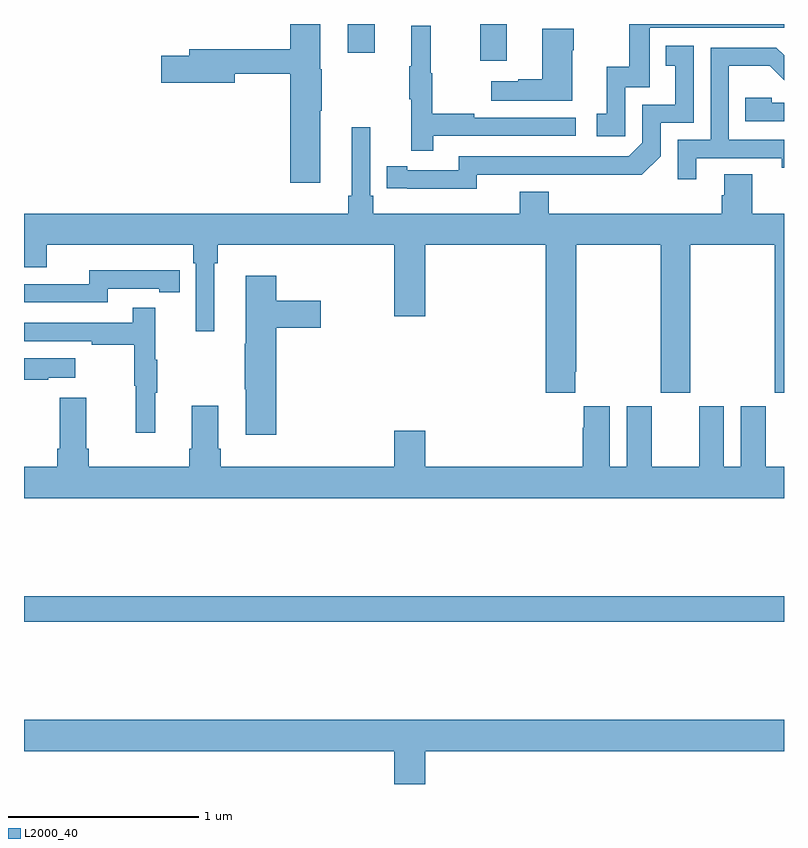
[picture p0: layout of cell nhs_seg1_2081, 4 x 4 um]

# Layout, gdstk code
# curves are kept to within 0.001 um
import gdstk
lib = gdstk.Library(unit=1e-6, precision=1e-09)
def R(c, l, rs):  # rectangles x0, y0, x1, y1
    for r in rs: c.add(gdstk.rectangle(r[:2], r[2:], *l))
def P(c, l, *ps):  # polygons
    for p in ps: c.add(gdstk.Polygon(p, *l))
L2000_40 = (2000, 40)

nhs_seg1_2081 = lib.new_cell('nhs_seg1_2081')
R(nhs_seg1_2081, L2000_40, [(223,579.052,227,579.188), (225.401,582.006,225.541,582.199), (224.705,582.048,224.845,582.199)])
P(nhs_seg1_2081, L2000_40, [(226.164,581.865),(226.293,581.865),(226.293,582.18),(227,582.18),(227,582.199),(226.185,582.199),(226.185,581.974),(226.067,581.974),(226.067,581.727),(226.014,581.727),(226.014,581.607),(226.164,581.607)],
  [(224.56,581.743),(224.568,581.743),(224.568,581.961),(224.56,581.961),(224.56,582.199),(224.402,582.199),(224.402,582.067),(223.871,582.067),(223.871,582.033),(223.722,582.033),(223.722,581.891),(224.11,581.891),(224.11,581.938),(224.402,581.938),(224.402,581.364),(224.56,581.364)],
  [(225.155,581.61),(225.904,581.61),(225.904,581.706),(225.371,581.706),(225.371,581.726),(225.148,581.726),(225.148,581.94),(225.14,581.94),(225.14,582.19),(225.038,582.19),(225.038,581.977),(225.027,581.977),(225.027,581.803),(225.038,581.803),(225.038,581.532),(225.155,581.532)],
  [(225.886,582.062),(225.894,582.062),(225.894,582.175),(225.728,582.175),(225.728,581.909),(225.602,581.909),(225.602,581.899),(225.459,581.899),(225.459,581.795),(225.886,581.795)],
  [(225.384,581.406),(226.252,581.405),(226.35,581.502),(226.35,581.679),(226.524,581.679),(226.524,582.085),(226.378,582.085),(226.378,581.979),(226.427,581.979),(226.427,581.775),(226.254,581.775),(226.254,581.574),(226.182,581.502),(225.288,581.502),(225.288,581.43),(225.016,581.43),(225.016,581.45),(224.908,581.45),(224.908,581.334),(225.384,581.333)],
  [(226.537,581.493),(226.988,581.493),(226.988,581.442),(227,581.442),(227,581.589),(226.71,581.589),(226.71,581.978),(226.924,581.978),(227,581.902),(227,582.035),(226.96,582.075),(226.614,582.075),(226.614,581.589),(226.44,581.589),(226.44,581.382),(226.537,581.382)],
  [(227,581.784),(226.935,581.784),(226.935,581.811),(226.795,581.811),(226.795,581.688),(227,581.688)],
  [(225.761,581.317),(225.608,581.317),(225.608,581.2),(224.837,581.2),(224.837,581.296),(224.823,581.296),(224.823,581.656),(224.726,581.656),(224.726,581.296),(224.707,581.296),(224.707,581.2),(223,581.2),(223,580.919),(223.12,580.919),(223.12,581.036),(223.892,581.036),(223.892,580.94),(223.905,580.94),(223.905,580.581),(224.002,580.581),(224.002,580.94),(224.021,580.94),(224.021,581.036),(224.948,581.036),(224.948,580.662),(225.112,580.662),(225.112,581.036),(225.746,581.036),(225.746,580.257),(225.901,580.257),(225.901,580.369),(225.906,580.369),(225.906,581.036),(226.351,581.036),(226.351,580.257),(226.506,580.257),(226.506,581.036),(226.951,581.036),(226.951,580.257),(227,580.257),(227,581.2),(226.833,581.2),(226.833,581.408),(226.685,581.408),(226.685,581.298),(226.673,581.298),(226.673,581.2),(225.761,581.2)],
  [(223.44,580.806),(223.712,580.806),(223.712,580.786),(223.82,580.786),(223.82,580.902),(223.712,580.902),(223.712,580.903),(223.344,580.903),(223.344,580.83),(223,580.83),(223,580.734),(223.44,580.734)],
  [(224.327,580.601),(224.563,580.601),(224.563,580.743),(224.327,580.743),(224.327,580.873),(224.168,580.873),(224.168,580.517),(224.161,580.517),(224.161,580.276),(224.168,580.276),(224.168,580.038),(224.327,580.038)],
  [(223.691,580.259),(223.702,580.259),(223.702,580.433),(223.691,580.433),(223.691,580.705),(223.573,580.705),(223.573,580.626),(223,580.626),(223,580.53),(223.357,580.53),(223.357,580.51),(223.581,580.51),(223.581,580.296),(223.588,580.296),(223.588,580.047),(223.691,580.047)],
  [(223.127,580.337),(223.27,580.337),(223.27,580.441),(223,580.441),(223,580.327),(223.127,580.327)],
  [(227,579.868),(226.903,579.868),(226.903,580.186),(226.772,580.186),(226.772,579.868),(226.684,579.868),(226.684,580.186),(226.553,580.186),(226.553,579.868),(226.303,579.868),(226.303,580.186),(226.172,580.186),(226.172,579.868),(226.084,579.868),(226.084,580.186),(225.947,580.186),(225.947,580.073),(225.941,580.073),(225.941,579.868),(225.112,579.868),(225.112,580.057),(224.948,580.057),(224.948,579.868),(224.036,579.868),(224.036,579.964),(224.023,579.964),(224.023,580.189),(223.883,580.189),(223.883,579.964),(223.871,579.964),(223.871,579.868),(223.34,579.868),(223.34,579.964),(223.327,579.964),(223.327,580.231),(223.187,580.231),(223.187,579.964),(223.175,579.964),(223.175,579.868),(223,579.868),(223,579.704),(227,579.704)],
  [(225.112,578.372),(227,578.372),(227,578.536),(223,578.536),(223,578.372),(224.948,578.372),(224.948,578.199),(225.112,578.199)])

lib.write_gds('nhs_seg1_2081.gds')
